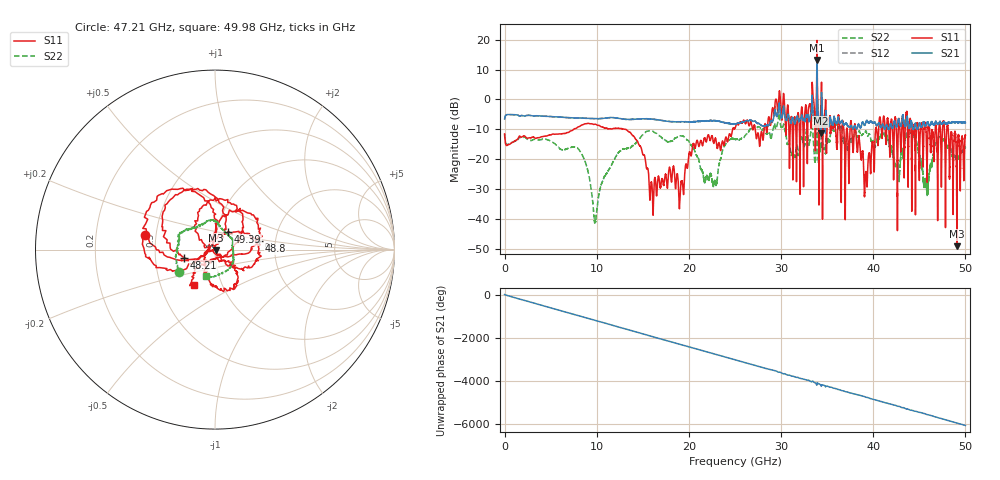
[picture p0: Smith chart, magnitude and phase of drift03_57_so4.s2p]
!Created with skrf (http://scikit-rf.org).
# Hz S RI R 50.0
!freq ReS11 ImS11 ReS21 ImS21 ReS12 ImS12 ReS22 ImS22
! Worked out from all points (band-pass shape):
!   10001 points, 300 kHz to 50 GHz, reference 50 ohm
!   highest |S21| = 13.21 dB at 33.9 GHz (marker M1); lowest = -11.4 dB at 34.32 GHz (marker M2)
!   |S21| within 3 dB of the highest: 33.88991 GHz to 33.90553 GHz (15.62 MHz wide, 0.0461 % of centre)
!   lowest |S11| = -49.1 dB at 49.07 GHz (marker M3), VSWR 1.01, Z = 50.3 - j0.212 ohm
!   |S11| at or under -10 dB: start of sweep to 7.488 GHz; 13.13 GHz to 24.74 GHz (11.61 GHz wide, 61.3 % of centre); 38.09 GHz to 40.26 GHz (2.164 GHz wide, 5.52 % of centre) (the widest 3 of 47)
!   |S22| runs from -41.4 to 5.7 dB; largest |S21 - S12| = 0.35
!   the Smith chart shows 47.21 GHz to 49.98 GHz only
!   S11 on the Smith chart (normalised r, x): 47.21 GHz: 0.43, +0.09; 48.21 GHz: 0.70, -0.07; 48.8 GHz: 1.63, +0.16; 49.39 GHz: 1.13, +0.23; 49.98 GHz: 0.74, -0.31
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300000  -0.2359 -0.1214  0.4657 0.0799  0.4659 0.0818  -0.2347 -0.1293
1.440291e9  0.21 0.0648  -0.5477 -0.0294  -0.5479 -0.0292  0.2116 -0.004
2.915283e9  -0.2124 -0.0881  0.5343 0.0516  0.5346 0.0515  -0.2022 0.0399
4.415274e9  0.2059 0.1323  -0.5215 -0.0423  -0.5216 -0.0425  0.1984 -0.0872
8.33525e9  0.2885 -0.2333  0.1459 0.4661  0.1458 0.4665  -0.0727 -0.1014
9.840241e9  -0.365 0.1251  -0.1428 -0.4541  -0.1429 -0.454  0.0086 0.00222
1.66702e10  0.0269 0.0433  -0.3782 0.2527  -0.379 0.253  -0.128 -0.2202
2.500015e10  -0.3259 -0.0151  -0.2548 -0.2973  -0.2537 -0.2987  -0.2128 0.028
2.895513e10  -0.3245 0.4325  -0.2885 0.3257  -0.2997 0.2903  0.0644 0.2216
3.006512e10  0.3995 0.2667  0.4503 -0.1959  0.4554 -0.1822  0.1766 -0.2967
3.171011e10  -0.0907 0.1875  -0.3624 0.3554  -0.3622 0.356  0.0659 0.1585
3.33351e10  0.6401 -0.8177  0.2553 -0.8483  0.2583 -0.8289  -0.189 -0.4255
3.38951e10  -2.121 -9.499  -4.53 0.648  -4.234 0.8316  0.4376 1.866
3.432009e10  -0.7769 -0.0025  -0.1822 0.2  -0.2433 0.1804  0.1436 -0.0754
4.167005e10  -0.2014 0.3032  0.3155 0.00407  0.316 0.0108  -0.1944 -0.00946
4.720502e10  -0.3908 0.0835  0.2841 0.3122  0.2858 0.3161  -0.2015 -0.1262
4.821001e10  -0.1716 -0.0467  0.1397 -0.3882  0.1379 -0.3902  -0.0222 0.1628
4.879501e10  0.2433 0.0467  -0.3387 -0.2339  -0.3386 -0.2355  0.0974 0.0572
4.907001e10  0.0028 -0.00211  -0.4197 -0.0212  -0.4215 -0.0228  0.0976 0.0123
4.9385e10  0.0723 0.0986  -0.3419 0.2372  -0.3435 0.236  0.1025 -0.0592
4.998e10  -0.1143 -0.1997  0.1211 0.3915  0.1209 0.3929  -0.0511 -0.1476
5e10  -0.1192 -0.2229  0.1426 0.384  0.1425 0.3833  -0.0545 -0.1446
